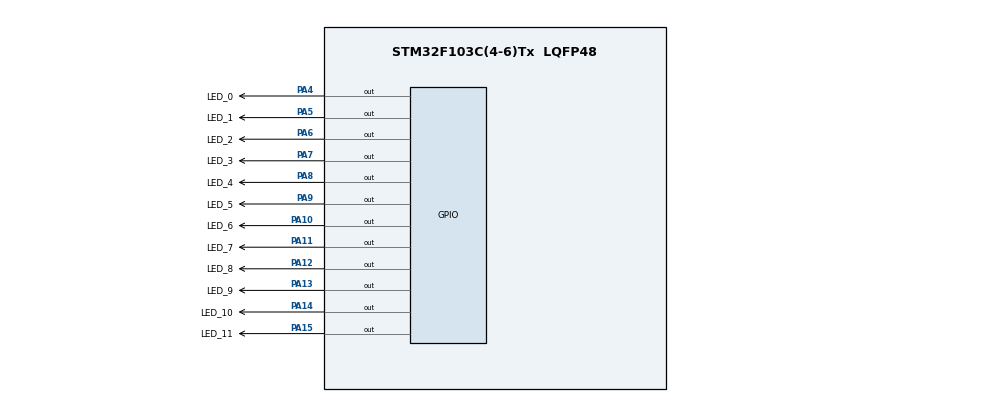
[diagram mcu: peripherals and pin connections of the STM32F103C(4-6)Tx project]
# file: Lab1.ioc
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Mcu.Family=STM32F1
Mcu.Name=STM32F103C(4-6)Tx
Mcu.Package=LQFP48
NVIC.PriorityGroup=NVIC_PRIORITYGROUP_4
PA10.GPIO_Label=LED_6
PA10.Signal=GPIO_Output
PA11.GPIO_Label=LED_7
PA11.Signal=GPIO_Output
PA12.GPIO_Label=LED_8
PA12.Signal=GPIO_Output
PA13.GPIO_Label=LED_9
PA13.Signal=GPIO_Output
PA14.GPIO_Label=LED_10
PA14.Signal=GPIO_Output
PA15.GPIO_Label=LED_11
PA15.Signal=GPIO_Output
PA4.GPIO_Label=LED_0
PA4.Signal=GPIO_Output
PA5.GPIO_Label=LED_1
PA5.Signal=GPIO_Output
PA6.GPIO_Label=LED_2
PA6.Signal=GPIO_Output
PA7.GPIO_Label=LED_3
PA7.Signal=GPIO_Output
PA8.GPIO_Label=LED_4
PA8.Signal=GPIO_Output
PA9.GPIO_Label=LED_5
PA9.Signal=GPIO_Output
ProjectManager.HeapSize=0x200
ProjectManager.StackSize=0x400
ProjectManager.TargetToolchain=STM32CubeIDE
RCC.APB1Freq_Value=8000000
RCC.APB2Freq_Value=8000000
board=custom

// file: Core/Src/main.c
/* USER CODE BEGIN Header */
/**
  ******************************************************************************
  * @file           : main.c
  * @brief          : Main program body
  ******************************************************************************
  * @attention
  *
  * Copyright (c) 2023 STMicroelectronics.
  * All rights reserved.
  *
  * This software is licensed under terms that can be found in the LICENSE file
  * in the root directory of this software component.
  * If no LICENSE file comes with this software, it is provided AS-IS.
  *
  ******************************************************************************
  */
/* USER CODE END Header */
#include "main.h"

/* USER CODE BEGIN PV */
short LED_Pin[12] = {
						LED_0_Pin, LED_1_Pin, LED_2_Pin, LED_3_Pin,
						LED_4_Pin, LED_5_Pin, LED_6_Pin, LED_7_Pin,
						LED_8_Pin, LED_9_Pin, LED_10_Pin, LED_11_Pin
					};
/* USER CODE END PV */

void SystemClock_Config(void);
static void MX_GPIO_Init(void);
/* USER CODE BEGIN PFP */
void clearAllClock(void);
void setNumberOnClock(int num);
void clearNumberOnClock(int num);
void DisplayClock(int counterSec, int counterMin, int counterHour);
/* USER CODE END PFP */

int main(void)
{

  /* MCU Configuration--------------------------------------------------------*/

  /* Reset of all peripherals, Initializes the Flash interface and the Systick. */
  HAL_Init();

  /* Configure the system clock */
  SystemClock_Config();

  /* Initialize all configured peripherals */
  MX_GPIO_Init();

  /* Infinite loop */
  /* USER CODE BEGIN WHILE */
  clearAllClock();
  int counterSec = 0;
  int counterMin = 0;
  int counterHour = 0;
  while (1)
  {
	  DisplayClock(counterSec, counterMin, counterHour);
	  counterSec++;
	  if (counterSec >= 60) {
		  counterSec = 0;
		  counterMin++;
	  }
	  if (counterMin >= 60) {
		  counterMin = 0;
		  counterHour++;
	  }
	  if (counterHour >= 12) {
		  counterSec = 0;
		  counterMin = 0;
		  counterHour = 0;
	  }
	  HAL_Delay(1000);
  }
  /* USER CODE END 3 */
}

void SystemClock_Config(void)
{
  RCC_OscInitTypeDef RCC_OscInitStruct = {0};
  RCC_ClkInitTypeDef RCC_ClkInitStruct = {0};

  /** Initializes the RCC Oscillators according to the specified parameters
  * in the RCC_OscInitTypeDef structure.
  */
  RCC_OscInitStruct.OscillatorType = RCC_OSCILLATORTYPE_HSI;
  RCC_OscInitStruct.HSIState = RCC_HSI_ON;
  RCC_OscInitStruct.HSICalibrationValue = RCC_HSICALIBRATION_DEFAULT;
  RCC_OscInitStruct.PLL.PLLState = RCC_PLL_NONE;
  if (HAL_RCC_OscConfig(&RCC_OscInitStruct) != HAL_OK)
  {
    Error_Handler();
  }

  /** Initializes the CPU, AHB and APB buses clocks
  */
  RCC_ClkInitStruct.ClockType = RCC_CLOCKTYPE_HCLK|RCC_CLOCKTYPE_SYSCLK
                              |RCC_CLOCKTYPE_PCLK1|RCC_CLOCKTYPE_PCLK2;
  RCC_ClkInitStruct.SYSCLKSource = RCC_SYSCLKSOURCE_HSI;
  RCC_ClkInitStruct.AHBCLKDivider = RCC_SYSCLK_DIV1;
  RCC_ClkInitStruct.APB1CLKDivider = RCC_HCLK_DIV1;
  RCC_ClkInitStruct.APB2CLKDivider = RCC_HCLK_DIV1;

  if (HAL_RCC_ClockConfig(&RCC_ClkInitStruct, FLASH_LATENCY_0) != HAL_OK)
  {
    Error_Handler();
  }
}

static void MX_GPIO_Init(void)
{
  GPIO_InitTypeDef GPIO_InitStruct = {0};

  /* GPIO Ports Clock Enable */
  __HAL_RCC_GPIOA_CLK_ENABLE();

  /*Configure GPIO pin Output Level */
  HAL_GPIO_WritePin(GPIOA, LED_0_Pin|LED_1_Pin|LED_2_Pin|LED_3_Pin
                          |LED_4_Pin|LED_5_Pin|LED_6_Pin|LED_7_Pin
                          |LED_8_Pin|LED_9_Pin|LED_10_Pin|LED_11_Pin, GPIO_PIN_RESET);

  /*Configure GPIO pins : LED_0_Pin LED_1_Pin LED_2_Pin LED_3_Pin
                           LED_4_Pin LED_5_Pin LED_6_Pin LED_7_Pin
                           LED_8_Pin LED_9_Pin LED_10_Pin LED_11_Pin */
  GPIO_InitStruct.Pin = LED_0_Pin|LED_1_Pin|LED_2_Pin|LED_3_Pin
                          |LED_4_Pin|LED_5_Pin|LED_6_Pin|LED_7_Pin
                          |LED_8_Pin|LED_9_Pin|LED_10_Pin|LED_11_Pin;
  GPIO_InitStruct.Mode = GPIO_MODE_OUTPUT_PP;
  GPIO_InitStruct.Pull = GPIO_NOPULL;
  GPIO_InitStruct.Speed = GPIO_SPEED_FREQ_LOW;
  HAL_GPIO_Init(GPIOA, &GPIO_InitStruct);

}

/* USER CODE BEGIN 4 */
void clearAllClock(void){
	HAL_GPIO_WritePin(GPIOA, LED_0_Pin|LED_1_Pin|LED_2_Pin|LED_3_Pin
                          |LED_4_Pin|LED_5_Pin|LED_6_Pin|LED_7_Pin
                          |LED_8_Pin|LED_9_Pin|LED_10_Pin|LED_11_Pin, GPIO_PIN_SET);
}

void setNumberOnClock(int num){
	if (num < 0 || num > 11) return;
	HAL_GPIO_WritePin(GPIOA, LED_Pin[num], GPIO_PIN_RESET);
}

void clearNumberOnClock(int num){
	if (num < 0 || num > 11) return;
	HAL_GPIO_WritePin(GPIOA, LED_Pin[num], GPIO_PIN_SET);
}

void DisplayClock(int counterSec, int counterMin, int counterHour){
	int DisplaySec = counterSec / 5;
	int DisplayMin = counterMin / 5;
	int DisplayHour = counterHour;
	clearAllClock();

	setNumberOnClock(DisplaySec);
	setNumberOnClock(DisplayMin);
	setNumberOnClock(DisplayHour);
}
/* USER CODE END 4 */

void Error_Handler(void)
{
  __disable_irq();
  while (1)
  {
  }
}
